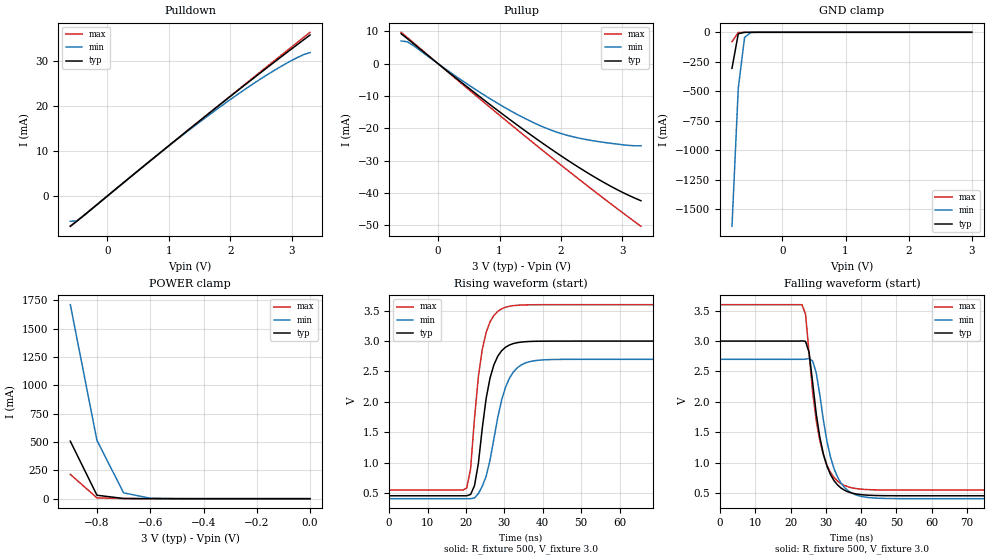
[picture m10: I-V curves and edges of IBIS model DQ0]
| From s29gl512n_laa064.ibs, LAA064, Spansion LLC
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[Model]   DQ0
Model_type I/O
Enable Active-High
Vinh=2.1
Vinl=0.9
Vmeas=1.5
Cref=30pF
C_comp   8.5pF   8.5pF   8.5pF
[Model Spec]
[Temperature Range] 27   100   0
[Voltage Range]   3.0   2.7   3.6
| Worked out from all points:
|   slope of the pulldown table from 0 to 0.45 V, typ, clamps not added: 88.9 ohm
|   slope of the pullup table from 0 to 0.45 V, typ, clamps not added: 66 ohm
|   GND clamp passes 1 mA (typ) near -0.61 V on its own axis
|   POWER clamp passes 1 mA (typ) near -0.65 V on its own axis
|   falling waveform, R_fixture 500, V_fixture 3.0: 20-80 % time 4.3ns typ, 4.64ns min, 4.2ns max; typ from 3 V to 0.453 V
|   rising waveform, R_fixture 500, V_fixture 3.0: 20-80 % time 3.56ns typ, 4.71ns min, 3.18ns max; typ from 0.453 V to 3 V
[Pullup]
-600mV    9.229mA    7.001mA    9.694mA
-500mV    7.742mA    6.776mA    8.096mA
-400mV    6.187mA    5.589mA    6.475mA
300mV     -4.568mA   -4.03mA    -4.826mA
900mV     -13.44mA   -11.47mA   -14.36mA
1.3V      -19.13mA   -15.82mA   -20.61mA
1.7V      -24.58mA   -19.48mA   -26.78mA
2V        -28.48mA   -21.59mA   -31.33mA
2.4V      -33.37mA   -23.41mA   -37.31mA
2.9V      -38.8mA    -24.83mA   -44.6mA
3.3V      -42.35mA   -25.37mA   -50.25mA
[Pulldown]
-600mV    -6.694mA   -5.569mA   -6.651mA
-500mV    -5.637mA   -5.509mA   -5.59mA
-400mV    -4.513mA   -4.564mA   -4.477mA
1V        11.19mA    11.14mA    11.16mA
1.6V      17.79mA    17.45mA    17.8mA
2.1V      23.2mA     22.39mA    23.31mA
2.5V      27.47mA    26.07mA    27.69mA
2.8V      30.63mA    28.6mA     30.97mA
3.1V      33.75mA    30.83mA    34.23mA
3.3V      35.8mA     31.89mA    36.39mA
[GND Clamp]
-800mV    -305.1mA   -1.643A    -79.81mA
-700mV    -12.18mA   -471.3mA   -1.913mA
-600mV    -354uA     -42.57mA   -124.2uA
-500mV    -14.1uA    -2.243mA   -14.32uA
-400mV    -1.52uA    -108.4uA   -1.965uA
3V        425.1pA    1.117uA    375.5pA
[POWER Clamp]
-900mV    506.8mA    1.711A     214.3mA
-800mV    30.34mA    513.6mA    7.066mA
-700mV    1.803mA    51.52mA    592.9uA
-600mV    112.9uA    4.183mA    35.99uA
-500mV    3.013uA    440.7uA    2.058uA
-400mV    86.12nA    24.57uA    103.3nA
-300mV    3.259nA    1.116uA    4.506nA
-200mV    543.7pA    52.86nA    631.9pA
-100mV    440.9pA    5.138nA    494.6pA
0V        425.1pA    2.967nA    473.7pA
[Falling Waveform]
R_fixture=500
V_fixture=3.0
V_fixture_min=2.7
V_fixture_max=3.6
0s        3V         2.7V       3.6V
23.23ns   3.003V     2.7V       3.599V
24.24ns   2.995V     2.703V     3.444V
25.25ns   2.812V     2.712V     2.795V
27.27ns   1.803V     2.477V     1.692V
28.28ns   1.42V      2.116V     1.36V
31.31ns   802.1mV    1.091V     838.2mV
34.34ns   578.4mV    657.5mV    651.2mV
43.43ns   458.7mV    417mV      551.2mV
100ns     452.8mV    405.1mV    546.3mV
[Rising Waveform]
R_fixture=500
V_fixture=3.0
V_fixture_min=2.7
V_fixture_max=3.6
0s        452.8mV    405.1mV    546.3mV
20.2ns    452.8mV    405.1mV    581.7mV
21.21ns   474.3mV    405.1mV    899mV
22.22ns   619.4mV    417.6mV    1.724V
24.24ns   1.562V     609.5mV    2.862V
26.26ns   2.39V      1.039V     3.315V
29.29ns   2.841V     2.03V      3.532V
32.32ns   2.959V     2.49V      3.584V
37.37ns   2.996V     2.672V     3.598V
100ns     3V         2.7V       3.6V
[Ramp]
R_load=500
dV/dt_r   1.591E+0/3.574E-9   1.409E+0/4.771E-9   1.921E+0/3.154E-9
dV/dt_f   1.528E+0/4.248E-9   1.377E+0/4.559E-9   1.832E+0/4.148E-9
|[End   DQ0
